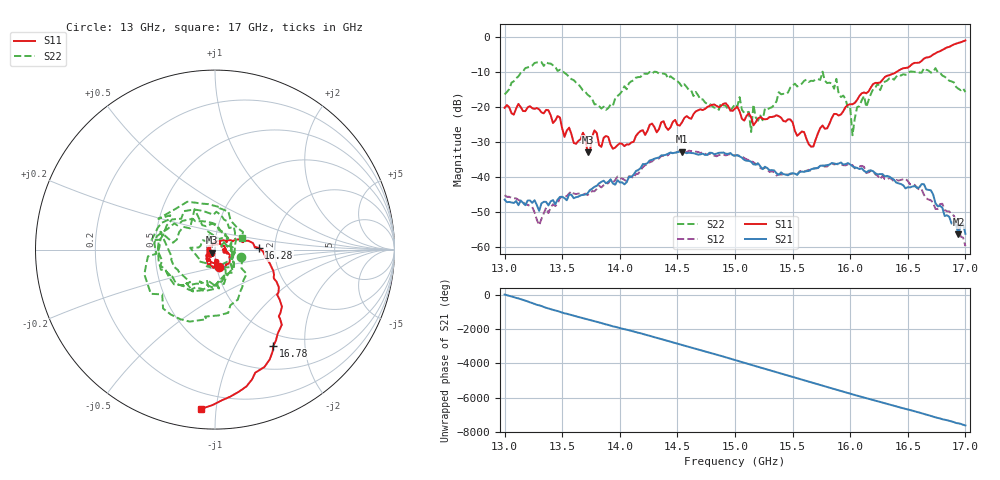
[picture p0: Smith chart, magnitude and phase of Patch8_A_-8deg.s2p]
!Keysight Technologies,P9374A,MY57211810,A.19.30.04
!Date: Friday, May 09, 2025 09:13:57
!Correction: S11(Cdelta 2-Port  )
!S21(Cdelta 2-Port  )
!S12(Cdelta 2-Port  )
!S22(Cdelta 2-Port  )
!S2P File: Measurements: S11, S21, S12, S22:
# Hz S  dB  R 50
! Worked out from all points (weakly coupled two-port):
!   201 points, 13 GHz to 17 GHz, reference 50 ohm
!   highest |S21| = -32.70 dB at 14.54 GHz (marker M1); lowest = -56.4 dB at 16.94 GHz (marker M2)
!   lowest |S11| = -32.9 dB at 13.72 GHz (marker M3), VSWR 1.05, Z = 48.5 - j1.6 ohm
!   |S11| at or under -10 dB: start of sweep to 16.4 GHz
!   |S22| runs from -28.1 to -7.2 dB; largest |S21 - S12| = 0.0026
!   S11 on the Smith chart (normalised r, x): 13 GHz: 1.03, -0.20; 16.28 GHz: 1.64, +0.03; 16.78 GHz: 0.82, -1.44; 17 GHz: 0.10, -0.91
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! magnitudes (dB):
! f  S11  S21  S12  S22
! 13 GHz  -20.2  -46.4  -45.2  -16.4
! 13.3 GHz  -20.7  -49.6  -53.7  -7.2
! 13.68 GHz  -27.3  -45.0  -45.0  -15.3
! 13.72 GHz  -32.9  -44.6  -45.1  -16.5
! 13.88 GHz  -28.3  -41.8  -42.1  -20.8
! 14.34 GHz  -26.3  -34.4  -34.7  -10.4
! 14.54 GHz  -24.4  -32.7  -32.4  -14.2
! 15 GHz  -20.4  -33.9  -33.7  -19.2
! 15.12 GHz  -21.8  -35.4  -35.1  -21.4
! 15.14 GHz  -22.9  -35.6  -35.4  -27.1
! 15.16 GHz  -25.2  -36.4  -35.8  -19.3
! 15.24 GHz  -23.3  -37.7  -37.7  -23.8
! 15.68 GHz  -31.3  -37.6  -37.6  -12.6
! 15.88 GHz  -22.0  -36.3  -36.3  -12.0
! 16 GHz  -19.2  -36.4  -36.4  -20.2
! 16.02 GHz  -19.2  -36.9  -36.6  -28.1
! 16.06 GHz  -18.0  -37.4  -36.9  -20.0
! 16.28 GHz  -12.3  -39.1  -39.6  -13.5
! 16.34 GHz  -10.9  -39.9  -40.2  -11.8
! 16.78 GHz  -4.1  -48.2  -47.7  -10.2
! 16.94 GHz  -1.7  -56.4  -54.6  -14.8
! 17 GHz  -1.0  -56.2  -59.7  -15.7
